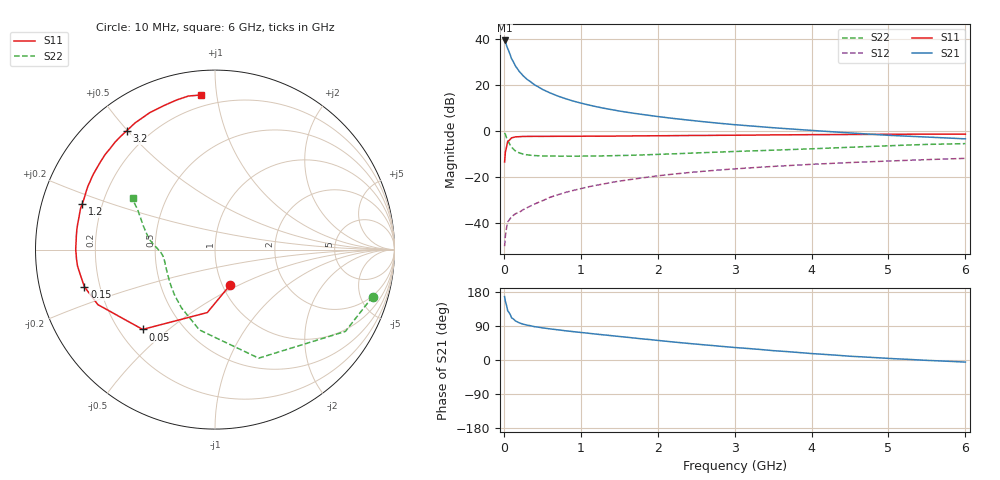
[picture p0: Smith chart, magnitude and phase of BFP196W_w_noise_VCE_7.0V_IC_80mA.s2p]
! (c) 2017  Infineon Technologies AG, Munich
! Infineon Technologies  Discrete & RF Semiconductors
! BFP196W
! VCE =  7.0 V,  IC =  80 mA
! Common Emitter S-Parameters:  Jan 2017
# GHz  S  MA  R  50
!  f  S11  S21  S12  S22
! GHz  MAG  ANG  MAG  ANG  MAG  ANG  MAG  ANG
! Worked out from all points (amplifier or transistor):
!   77 points, 10 MHz to 6 GHz, reference 50 ohm
!   highest |S21| = 39.4 dB at 10 MHz (marker M1)
!   |S21| within 3 dB of that: start of sweep to 44.04 MHz
!   unconditionally stable (mu >= 1): 571.8 MHz to 3.261 GHz
!   at 130 MHz: K = 0.51, MSG = 33.1 dB, |S12| = -36.4 dB
!   at 2.2 GHz: K = 1.03, MAG = 11.0 dB, |S12| = -18.6 dB
!   at 6 GHz: K = 0.94, MSG = 4.2 dB, |S12| = -11.8 dB
!   lowest NFmin = 1.68 dB at 450 MHz
!   S11 on the Smith chart (normalised r, x): 10 MHz: 1.08, -0.45; 50 MHz: 0.30, -0.41; 150 MHz: 0.14, -0.14; 1.2 GHz: 0.13, +0.16; 3.2 GHz: 0.12, +0.50; 6 GHz: 0.13, +0.91
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0.01  0.2161 -67.7  93.75 167.2  0.0032 75.9  0.9167 -16.6
0.02  0.3534 -97.0  87.54 154.7  0.0053 73.3  0.8577 -32.1
0.05  0.6003 -132.2  62.43 129.8  0.0107 51.0  0.652 -68.1
0.1  0.7209 -154.8  37.72 111.4  0.0138 45.4  0.4558 -101.0
0.15  0.7566 -164.1  26.31 103.2  0.0162 45.2  0.3748 -119.8
0.2  0.7633 -169.4  20.01 98.1  0.0174 49.2  0.3398 -131.3
0.25  0.7715 -173.2  16.12 94.6  0.0198 50.4  0.3197 -139.6
0.3  0.7734 -176.1  13.46 92.1  0.0218 53.4  0.3082 -145.5
0.4  0.776 179.8  10.19 87.9  0.0263 57.6  0.2968 -153.2
0.5  0.7751 176.7  8.151 84.9  0.0309 61.5  0.2919 -158.2
0.6  0.7765 174.0  6.815 82.1  0.0368 62.9  0.2905 -161.9
0.7  0.7777 171.7  5.837 79.7  0.0417 64.4  0.2883 -164.5
0.9  0.7787 167.0  4.535 74.9  0.0518 65.5  0.2884 -168.2
1.1  0.7832 163.1  3.734 70.6  0.0622 65.6  0.2899 -170.8
1.2  0.7822 161.1  3.423 68.3  0.0671 64.9  0.2908 -172.0
1.6  0.7915 153.4  2.591 60.0  0.0874 63.1  0.2996 -176.1
2.1  0.801 144.4  1.995 49.7  0.1125 59.0  0.3191 179.4
3.1  0.8227 128.2  1.35 31.5  0.1565 49.9  0.3688 171.0
3.2  0.8248 126.7  1.309 30.0  0.1605 49.0  0.3735 170.1
4.1  0.8458 114.2  1.018 15.7  0.195 41.2  0.4228 161.3
5.1  0.8618 103.4  0.803 3.2  0.229 33.1  0.4911 152.2
6  0.8651 95.0  0.685 -5.5  0.2583 26.0  0.5392 147.7
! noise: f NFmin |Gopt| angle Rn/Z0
0.45  1.68  0.56  -175  0.06
0.9  1.8  0.59  -169  0.08
1.9  2.67  0.7  -148  0.2
2.4  3.09  0.74  -143  0.32
